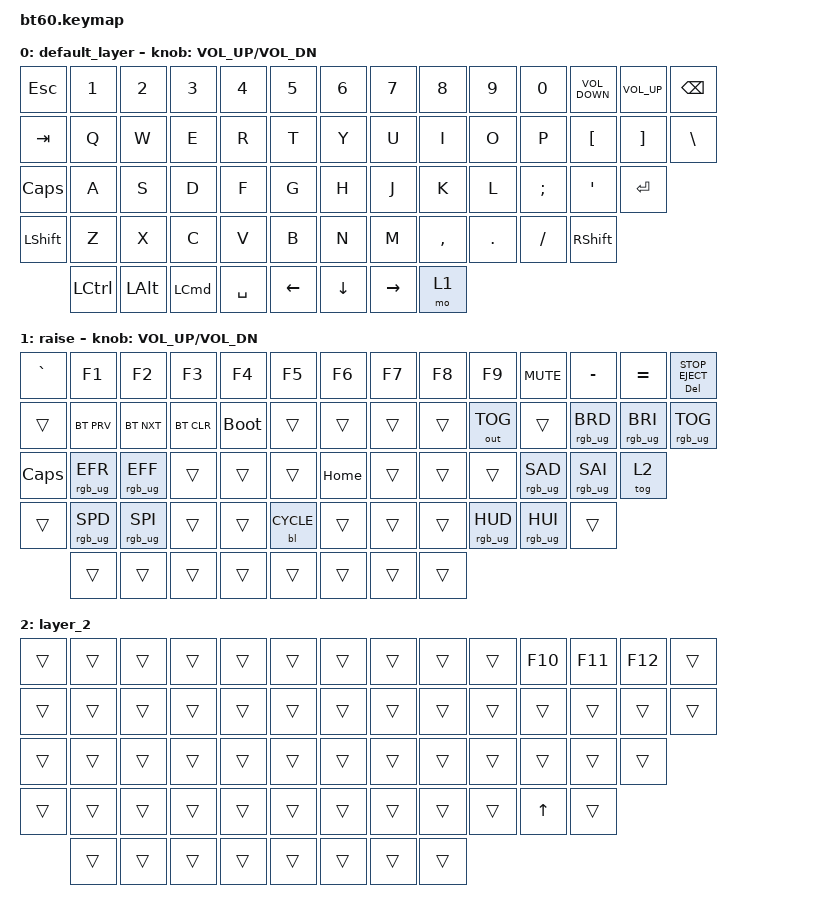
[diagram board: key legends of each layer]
#include <behaviors.dtsi>
#include <dt-bindings/zmk/backlight.h>
#include <dt-bindings/zmk/bt.h>
#include <dt-bindings/zmk/keys.h>
#include <dt-bindings/zmk/outputs.h>
#include <dt-bindings/zmk/rgb.h>

/ {
    keymap {
        compatible = "zmk,keymap";

        default_layer {
            // ------------------------------------------------------------------------------------------
            // |  `  |  1  |  2  |  3  |  4  |  5  |  6  |  7  |  8  |  9  |  0  |  -  |  =  |   BKSP
            // | TAB  |  Q  |  W  |  E  |  R  |  T  |  Y  |  U  |  I  |  O  |  P  |  [  |  ]  |   |
            // | CAPS  |  A  |  S  |  D  |  F  |  G  |  H  |  J  |  K  |  L  |  ;  |  '  |     ENTER
            // |  SHIFT    |  Z  |  X  |  C  |  V  |  B  |  N  |  M  |  ,  |  .  | /   |      SHIFT
            // |  CTL  |  WIN  |  ALT  |            SPACE               | ALT | 1    |  MENU    |  CTRL
            // ------------------------------------------------------------------------------------------

            bindings = <
&kp ESC    &kp N1     &kp N2        &kp N3            &kp N4     &kp N5          &kp N6          &kp N7           &kp N8     &kp N9   &kp N0    &kp C_VOLUME_DOWN  &kp C_VOLUME_UP  &kp BSPC
&kp TAB    &kp Q      &kp W         &kp E             &kp R      &kp T           &kp Y           &kp U            &kp I      &kp O    &kp P     &kp LBKT           &kp RBKT         &kp BSLH
&kp CAPS   &kp A      &kp S         &kp D             &kp F      &kp G           &kp H           &kp J            &kp K      &kp L    &kp SEMI  &kp SQT            &kp RET
&kp LSHFT  &kp Z      &kp X         &kp C             &kp V      &kp B           &kp N           &kp M            &kp COMMA  &kp DOT  &kp FSLH  &kp RSHFT
           &kp LCTRL  &kp LEFT_ALT  &kp LEFT_COMMAND  &kp SPACE  &kp LEFT_ARROW  &kp DOWN_ARROW  &kp RIGHT_ARROW  &mo 1
            >;

            sensor-bindings = <&inc_dec_kp C_VOL_UP C_VOL_DN>;
        };

        raise {
            bindings = <
&kp GRAVE  &kp F1           &kp F2           &kp F3      &kp F4       &kp F5        &kp F6    &kp F7  &kp F8  &kp F9           &kp K_MUTE       &kp MINUS        &kp EQUAL        &mt DELETE C_STOP_EJECT
&trans     &bt BT_PRV       &bt BT_NXT       &bt BT_CLR  &bootloader  &trans        &trans    &trans  &trans  &out OUT_TOG     &trans           &rgb_ug RGB_BRD  &rgb_ug RGB_BRI  &rgb_ug RGB_TOG
&kp CAPS   &rgb_ug RGB_EFR  &rgb_ug RGB_EFF  &trans      &trans       &trans        &kp HOME  &trans  &trans  &trans           &rgb_ug RGB_SAD  &rgb_ug RGB_SAI  &tog 2
&trans     &rgb_ug RGB_SPD  &rgb_ug RGB_SPI  &trans      &trans       &bl BL_CYCLE  &trans    &trans  &trans  &rgb_ug RGB_HUD  &rgb_ug RGB_HUI  &trans
           &trans           &trans           &trans      &trans       &trans        &trans    &trans  &trans
            >;

            sensor-bindings = <&inc_dec_kp C_VOL_UP C_VOL_DN>;
        };

        layer_2 {
            bindings = <
&trans  &trans  &trans  &trans  &trans  &trans  &trans  &trans  &trans  &trans  &kp F10       &kp F11  &kp F12  &trans
&trans  &trans  &trans  &trans  &trans  &trans  &trans  &trans  &trans  &trans  &trans        &trans   &trans   &trans
&trans  &trans  &trans  &trans  &trans  &trans  &trans  &trans  &trans  &trans  &trans        &trans   &trans
&trans  &trans  &trans  &trans  &trans  &trans  &trans  &trans  &trans  &trans  &kp UP_ARROW  &trans
        &trans  &trans  &trans  &trans  &trans  &trans  &trans  &trans
            >;
        };
    };
};
